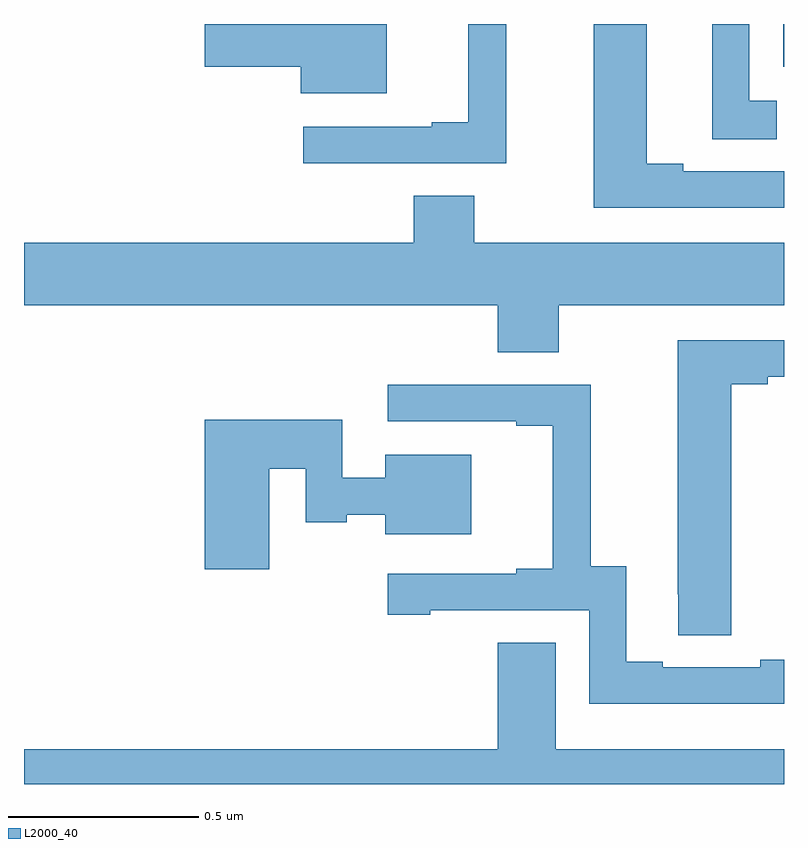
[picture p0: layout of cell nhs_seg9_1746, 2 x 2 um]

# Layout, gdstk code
import gdstk
lib = gdstk.Library(unit=1e-6, precision=1e-09)
def R(c, l, rs):  # rectangles x0, y0, x1, y1
    for r in rs: c.add(gdstk.rectangle(r[:2], r[2:], *l))
def P(c, l, *ps):  # polygons
    for p in ps: c.add(gdstk.Polygon(p, *l))
L2000_40 = (2000, 40)

nhs_seg9_1746 = lib.new_cell('nhs_seg9_1746')
R(nhs_seg9_1746, L2000_40, [(133.998,1190.388,134,1190.5)])
P(nhs_seg9_1746, L2000_40, [(132.955,1190.5),(132.476,1190.5),(132.476,1190.387),(132.728,1190.387),(132.728,1190.318),(132.955,1190.318)],
  [(133.269,1190.5),(133.169,1190.5),(133.169,1190.242),(133.073,1190.242),(133.073,1190.229),(132.735,1190.229),(132.735,1190.133),(133.269,1190.133)],
  [(133.981,1190.298),(133.908,1190.298),(133.908,1190.5),(133.811,1190.5),(133.811,1190.197),(133.981,1190.197)],
  [(134,1190.112),(133.735,1190.112),(133.735,1190.132),(133.639,1190.132),(133.639,1190.5),(133.499,1190.5),(133.499,1190.016),(134,1190.016)],
  [(133.407,1189.76),(134,1189.76),(134,1189.924),(133.185,1189.924),(133.185,1190.048),(133.025,1190.048),(133.025,1189.924),(132,1189.924),(132,1189.76),(133.247,1189.76),(133.247,1189.636),(133.407,1189.636)],
  [(133.861,1189.552),(133.957,1189.552),(133.957,1189.572),(134,1189.572),(134,1189.668),(133.721,1189.668),(133.721,1189),(133.722,1189),(133.722,1188.892),(133.861,1188.892)],
  [(134,1188.827),(133.937,1188.827),(133.937,1188.807),(133.681,1188.807),(133.681,1188.822),(133.585,1188.822),(133.585,1189.073),(133.491,1189.073),(133.491,1189.551),(132.957,1189.551),(132.957,1189.455),(133.295,1189.455),(133.295,1189.443),(133.391,1189.443),(133.391,1189.066),(133.295,1189.066),(133.295,1189.053),(132.957,1189.053),(132.957,1188.945),(133.069,1188.945),(133.069,1188.957),(133.488,1188.957),(133.488,1188.711),(134,1188.711)],
  [(132.646,1189.33),(132.741,1189.33),(132.741,1189.189),(132.849,1189.189),(132.849,1189.208),(132.95,1189.208),(132.95,1189.157),(133.177,1189.157),(133.177,1189.366),(132.95,1189.366),(132.95,1189.306),(132.837,1189.306),(132.837,1189.459),(132.476,1189.459),(132.476,1189.065),(132.646,1189.065)],
  [(134,1188.592),(133.399,1188.592),(133.399,1188.872),(133.247,1188.872),(133.247,1188.592),(132,1188.592),(132,1188.5),(134,1188.5)])

lib.write_gds('nhs_seg9_1746.gds')
